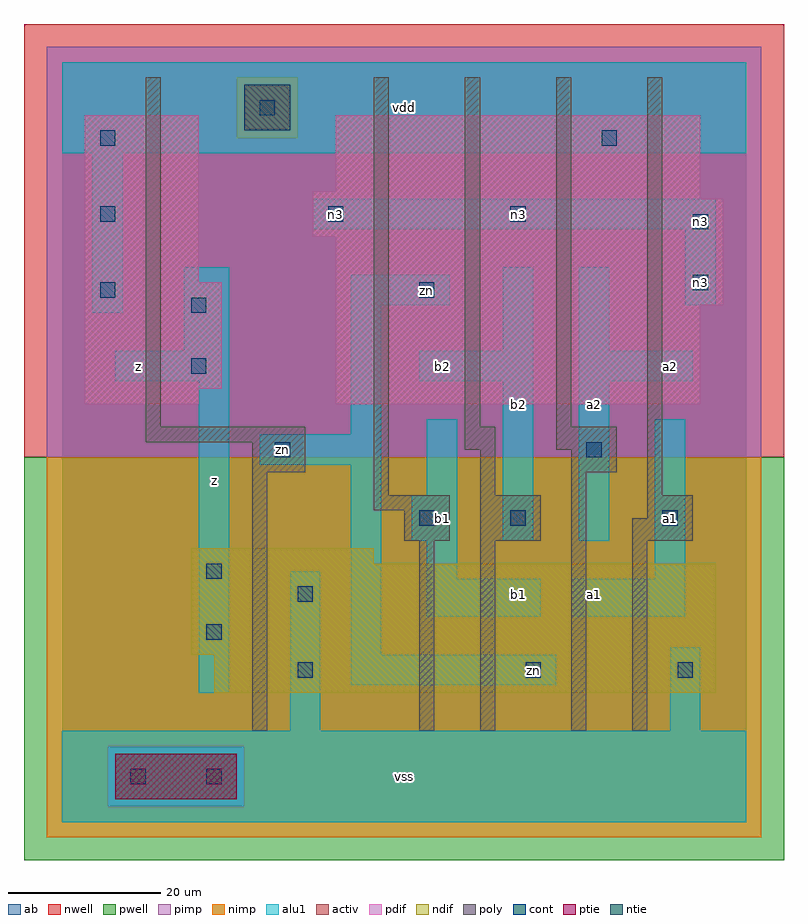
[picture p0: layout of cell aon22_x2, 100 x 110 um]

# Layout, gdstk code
import gdstk
lib = gdstk.Library(unit=1e-6, precision=1e-09)
def R(c, l, rs):  # rectangles x0, y0, x1, y1
    for r in rs: c.add(gdstk.rectangle(r[:2], r[2:], *l))
def A(c, l, x, y, w, h, nx, ny, dx, dy):  # array of equal rectangles
    R(c, l, [(x+i*dx, y+j*dy, x+i*dx+w, y+j*dy+h) for i in range(nx) for j in range(ny)])
ndif = (3, 0)
pdif = (4, 0)
ntie = (5, 0)
ptie = (6, 0)
cont = (25, 0)
pwell = (41, 0)
nwell = (42, 0)
activ = (43, 0)
pimp = (44, 0)
nimp = (45, 0)
poly = (46, 0)
alu1 = (49, 0)
ab = (63, 0)

aon22_x2 = lib.new_cell('aon22_x2')
R(aon22_x2, ndif, [(20,17,86,22), (17,22,86,34), (17,34,41,36)])
R(aon22_x2, pdif, [(3,55,18,57), (36,55,84,68), (3,57,21,71), (36,68,87,77), (3,71,18,93), (33,77,87,82), (33,82,84,83), (36,83,84,93)])
R(aon22_x2, ntie, [(24,91,30,97)])
R(aon22_x2, ptie, [(7,3,23,9)])
A(aon22_x2, cont, 5, 69, 2, 2, 1, 3, 0, 10)
R(aon22_x2, cont, [(9,5,11,7), (19,5,21,7), (31,19,33,21), (61,19,63,21), (81,19,83,21), (19,24,21,26), (31,29,33,31), (19,32,21,34), (47,39,49,41), (59,39,61,41), (79,39,81,41), (28,48,30,50), (69,48,71,50), (17,59,19,61), (17,67,19,69), (47,69,49,71), (83,70,85,72), (83,78,85,80), (35,79,37,81), (59,79,61,81), (71,89,73,91), (26,93,28,95)])
R(aon22_x2, pwell, [(-5,-5,95,48)])
R(aon22_x2, nwell, [(-5,48,95,105)])
R(aon22_x2, activ, [(7,3,23,9), (20,17,86,22), (17,22,86,34), (17,34,41,36), (3,55,18,57), (36,55,84,68), (3,57,21,71), (36,68,87,77), (3,71,18,93), (33,77,87,82), (33,82,84,83), (36,83,84,93), (24,91,30,97)])
R(aon22_x2, pimp, [(6,2,24,10), (-2,48,92,90), (-2,90,23,98), (31,90,92,98), (-2,98,92,102)])
R(aon22_x2, nimp, [(-2,-2,92,2), (-2,2,6,10), (24,2,92,10), (-2,10,92,48), (23,90,31,98)])
R(aon22_x2, poly, [(25,12,27,46), (47,12,49,37), (55,12,57,37), (67,12,69,46), (75,12,77,37), (45,37,51,41), (55,37,63,43), (75,37,83,40), (77,40,83,43), (41,41,51,43), (41,43,43,98), (55,43,57,49), (77,43,79,98), (25,46,32,50), (67,46,73,49), (53,49,57,52), (65,49,73,52), (11,50,32,52), (11,52,13,98), (53,52,55,98), (65,52,67,98)])
R(aon22_x2, alu1, [(0,0,90,12), (30,12,34,33), (80,12,84,23), (18,17,22,58), (38,18,65,22), (38,22,42,47), (48,27,63,32), (67,27,82,32), (48,32,52,37), (78,32,82,53), (46,37,52,43), (58,37,62,58), (68,37,72,58), (48,43,52,53), (26,47,42,51), (38,51,42,68), (7,58,22,62), (47,58,62,62), (68,58,83,62), (16,62,22,73), (58,62,62,73), (68,62,72,73), (4,67,8,88), (38,68,51,72), (82,68,86,78), (33,78,86,82), (0,88,90,100)])
R(aon22_x2, ab, [(0,0,90,100)])
aon22_x2.add(gdstk.Label('zn', (29,49), layer=49, texttype=0))
aon22_x2.add(gdstk.Label('n3', (36,80), layer=49, texttype=0))
aon22_x2.add(gdstk.Label('zn', (62,20), layer=49, texttype=0))
aon22_x2.add(gdstk.Label('zn', (48,70), layer=49, texttype=0))
aon22_x2.add(gdstk.Label('n3', (60,80), layer=49, texttype=0))
aon22_x2.add(gdstk.Label('n3', (84,71), layer=49, texttype=0))
aon22_x2.add(gdstk.Label('n3', (84,79), layer=49, texttype=0))
aon22_x2.add(gdstk.Label('z', (10,60), layer=49, texttype=0))
aon22_x2.add(gdstk.Label('z', (20,45), layer=49, texttype=0))
aon22_x2.add(gdstk.Label('vss', (45,6), layer=49, texttype=0))
aon22_x2.add(gdstk.Label('b1', (60,30), layer=49, texttype=0))
aon22_x2.add(gdstk.Label('b1', (50,40), layer=49, texttype=0))
aon22_x2.add(gdstk.Label('b2', (60,55), layer=49, texttype=0))
aon22_x2.add(gdstk.Label('b2', (50,60), layer=49, texttype=0))
aon22_x2.add(gdstk.Label('vdd', (45,94), layer=49, texttype=0))
aon22_x2.add(gdstk.Label('a1', (70,30), layer=49, texttype=0))
aon22_x2.add(gdstk.Label('a1', (80,40), layer=49, texttype=0))
aon22_x2.add(gdstk.Label('a2', (70,55), layer=49, texttype=0))
aon22_x2.add(gdstk.Label('a2', (80,60), layer=49, texttype=0))

lib.write_gds('aon22_x2.gds')
